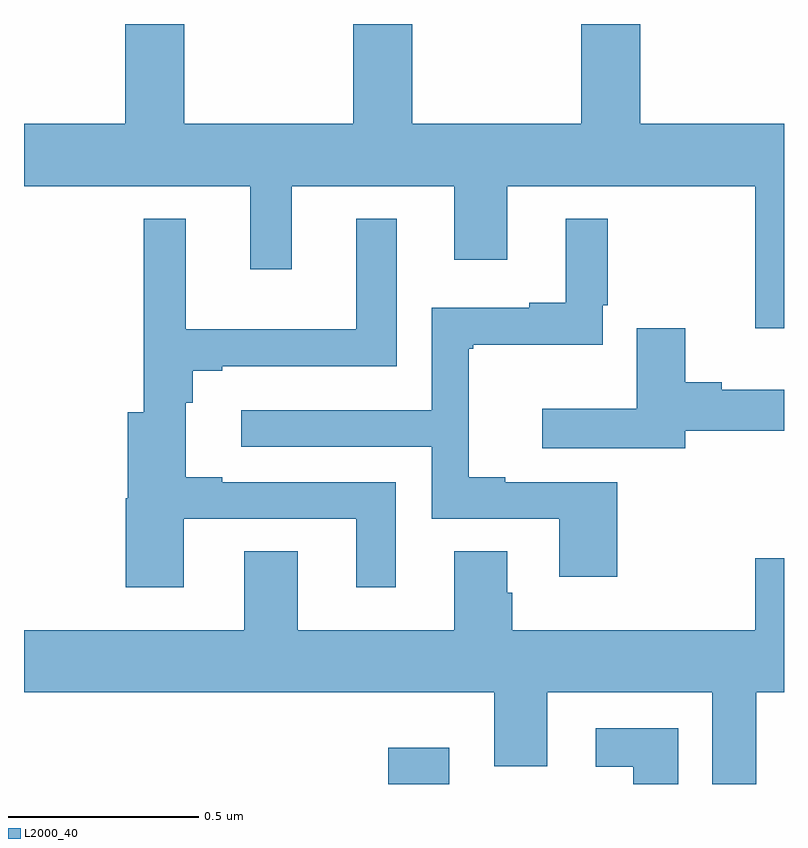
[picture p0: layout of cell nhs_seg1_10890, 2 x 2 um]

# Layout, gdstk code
import gdstk
lib = gdstk.Library(unit=1e-6, precision=1e-09)
def R(c, l, rs):  # rectangles x0, y0, x1, y1
    for r in rs: c.add(gdstk.rectangle(r[:2], r[2:], *l))
def P(c, l, *ps):  # polygons
    for p in ps: c.add(gdstk.Polygon(p, *l))
L2000_40 = (2000, 40)

nhs_seg1_10890 = lib.new_cell('nhs_seg1_10890')
R(nhs_seg1_10890, L2000_40, [(247.958,510.199,248.119,510.295)])
P(nhs_seg1_10890, L2000_40, [(247.267,511.936),(247,511.936),(247,511.772),(247.595,511.772),(247.595,511.554),(247.705,511.554),(247.705,511.772),(248.132,511.772),(248.132,511.578),(248.272,511.578),(248.272,511.772),(248.924,511.772),(248.924,511.398),(249,511.398),(249,511.936),(248.622,511.936),(248.622,512.199),(248.467,512.199),(248.467,511.936),(248.022,511.936),(248.022,512.199),(247.867,512.199),(247.867,511.936),(247.422,511.936),(247.422,512.199),(247.267,512.199)],
  [(248.561,510.993),(248.266,510.993),(248.266,511.006),(248.171,511.006),(248.171,511.344),(248.182,511.344),(248.182,511.355),(248.523,511.355),(248.523,511.459),(248.536,511.459),(248.536,511.687),(248.426,511.687),(248.426,511.465),(248.33,511.465),(248.33,511.452),(248.073,511.452),(248.073,511.182),(247.572,511.182),(247.572,511.086),(248.073,511.086),(248.073,510.897),(248.408,510.897),(248.408,510.744),(248.561,510.744)],
  [(247.42,510.897),(247.874,510.897),(247.874,510.717),(247.978,510.717),(247.978,510.993),(247.522,510.993),(247.522,511.006),(247.426,511.006),(247.426,511.202),(247.444,511.202),(247.444,511.287),(247.522,511.287),(247.522,511.299),(247.981,511.299),(247.981,511.687),(247.874,511.687),(247.874,511.396),(247.426,511.396),(247.426,511.687),(247.315,511.687),(247.315,511.177),(247.273,511.177),(247.273,510.951),(247.268,510.951),(247.268,510.717),(247.42,510.717)],
  [(248.74,511.128),(249,511.128),(249,511.237),(248.836,511.237),(248.836,511.256),(248.74,511.256),(248.74,511.399),(248.612,511.399),(248.612,511.186),(248.364,511.186),(248.364,511.082),(248.74,511.082)],
  [(248.927,510.44),(249,510.44),(249,510.793),(248.924,510.793),(248.924,510.604),(248.285,510.604),(248.285,510.702),(248.272,510.702),(248.272,510.812),(248.132,510.812),(248.132,510.604),(247.72,510.604),(247.72,510.812),(247.58,510.812),(247.58,510.604),(247,510.604),(247,510.44),(248.237,510.44),(248.237,510.246),(248.377,510.246),(248.377,510.44),(248.811,510.44),(248.811,510.199),(248.927,510.199)],
  [(248.722,510.346),(248.505,510.346),(248.505,510.245),(248.603,510.245),(248.603,510.199),(248.722,510.199)])

lib.write_gds('nhs_seg1_10890.gds')
